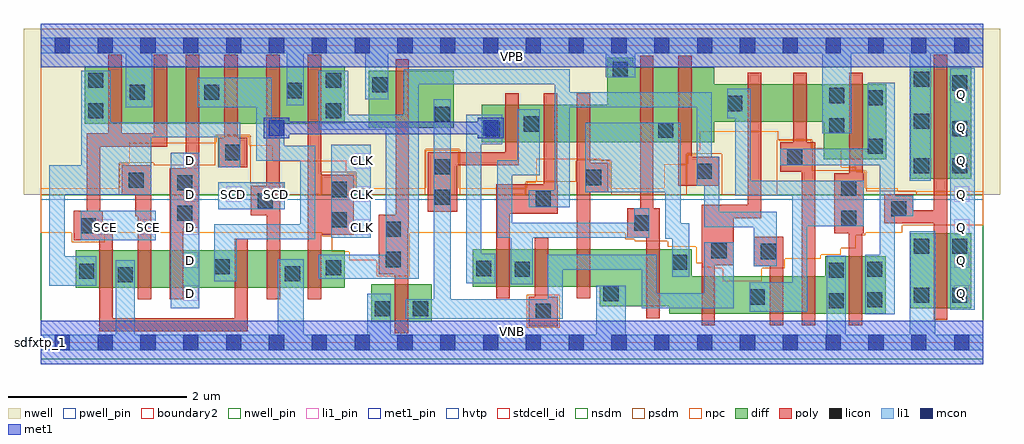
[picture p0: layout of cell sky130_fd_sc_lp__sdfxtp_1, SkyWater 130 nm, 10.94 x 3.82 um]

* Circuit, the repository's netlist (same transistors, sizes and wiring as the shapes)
* Copyright 2020 The SkyWater PDK Authors
*
* Licensed under the Apache License, Version 2.0 (the "License");
* you may not use this file except in compliance with the License.
* You may obtain a copy of the License at
*
*     https://www.apache.org/licenses/LICENSE-2.0
*
* Unless required by applicable law or agreed to in writing, software
* distributed under the License is distributed on an "AS IS" BASIS,
* WITHOUT WARRANTIES OR CONDITIONS OF ANY KIND, either express or implied.
* See the License for the specific language governing permissions and
* limitations under the License.
*
* SPDX-License-Identifier: Apache-2.0

.SUBCKT sky130_fd_sc_lp__sdfxtp_1 CLK D SCD SCE VGND VNB VPB VPWR Q
*.PININFO CLK:I D:I SCD:I SCE:I VGND:I VNB:I VPB:I VPWR:I Q:O
MI652 M1 clkpos S0 VNB sky130_fd_pr__nfet_01v8 m=1 w=0.42U l=0.15U mult=1 sa=0.265
+ sb=0.265 sd=0.28 area=0.063 perim=1.14
MI649 S1 S0 VGND VNB sky130_fd_pr__nfet_01v8 m=1 w=0.64U l=0.15U mult=1 sa=0.265
+ sb=0.265 sd=0.28 area=0.063 perim=1.14
MI634 M1 M0 VGND VNB sky130_fd_pr__nfet_01v8 m=1 w=0.64U l=0.15U mult=1 sa=0.265
+ sb=0.265 sd=0.28 area=0.063 perim=1.14
MI636 clkpos clkneg VGND VNB sky130_fd_pr__nfet_01v8 m=1 w=0.42U l=0.15U mult=1
+ sa=0.265 sb=0.265 sd=0.28 area=0.063 perim=1.14
MI639 sceb SCE VGND VNB sky130_fd_pr__nfet_01v8 m=1 w=0.42U l=0.15U mult=1 sa=0.265
+ sb=0.265 sd=0.28 area=0.063 perim=1.14
MI657 M0 clkpos net155 VNB sky130_fd_pr__nfet_01v8 m=1 w=0.42U l=0.15U mult=1 sa=0.265
+ sb=0.265 sd=0.28 area=0.063 perim=1.14
MI656 net155 M1 VGND VNB sky130_fd_pr__nfet_01v8 m=1 w=0.42U l=0.15U mult=1 sa=0.265
+ sb=0.265 sd=0.28 area=0.063 perim=1.14
MI641 net151 S1 VGND VNB sky130_fd_pr__nfet_01v8 m=1 w=0.42U l=0.15U mult=1 sa=0.265
+ sb=0.265 sd=0.28 area=0.063 perim=1.14
MI646 Q S1 VGND VNB sky130_fd_pr__nfet_01v8 m=1 w=0.84U l=0.15U mult=1 sa=0.265
+ sb=0.265 sd=0.28 area=0.063 perim=1.14
MI648 db clkneg M0 VNB sky130_fd_pr__nfet_01v8 m=1 w=0.42U l=0.15U mult=1 sa=0.265
+ sb=0.265 sd=0.28 area=0.063 perim=1.14
MI635 clkneg CLK VGND VNB sky130_fd_pr__nfet_01v8 m=1 w=0.42U l=0.15U mult=1 sa=0.265
+ sb=0.265 sd=0.28 area=0.063 perim=1.14
MI642 S0 clkneg net151 VNB sky130_fd_pr__nfet_01v8 m=1 w=0.42U l=0.15U mult=1 sa=0.265
+ sb=0.265 sd=0.28 area=0.063 perim=1.14
MI98 db D n0 VNB sky130_fd_pr__nfet_01v8 m=1 w=0.42U l=0.15U mult=1 sa=0.265 sb=0.265
+ sd=0.28 area=0.525 perim=3.1
MI103 n1 SCD VGND VNB sky130_fd_pr__nfet_01v8 m=1 w=0.42U l=0.15U mult=1 sa=0.265
+ sb=0.265 sd=0.28 area=0.525 perim=3.1
MI120 db SCE n1 VNB sky130_fd_pr__nfet_01v8 m=1 w=0.42U l=0.15U mult=1 sa=0.265
+ sb=0.265 sd=0.28 area=0.525 perim=3.1
MI104 n0 sceb VGND VNB sky130_fd_pr__nfet_01v8 m=1 w=0.42U l=0.15U mult=1 sa=0.265
+ sb=0.265 sd=0.28 area=0.525 perim=3.1
MI643 net206 S1 VPWR VPB sky130_fd_pr__pfet_01v8_hvt m=1 w=0.42U l=0.15U mult=1
+ sa=0.265 sb=0.265 sd=0.28 area=0.063 perim=1.14
MI640 sceb SCE VPWR VPB sky130_fd_pr__pfet_01v8_hvt m=1 w=0.64U l=0.15U mult=1
+ sa=0.265 sb=0.265 sd=0.28 area=0.063 perim=1.14
MI658 net243 M1 VPWR VPB sky130_fd_pr__pfet_01v8_hvt m=1 w=0.42U l=0.15U mult=1
+ sa=0.265 sb=0.265 sd=0.28 area=0.063 perim=1.14
MI645 Q S1 VPWR VPB sky130_fd_pr__pfet_01v8_hvt m=1 w=1.26U l=0.15U mult=1 sa=0.265
+ sb=0.265 sd=0.28 area=0.063 perim=1.14
MI651 db clkpos M0 VPB sky130_fd_pr__pfet_01v8_hvt m=1 w=0.42U l=0.15U mult=1 sa=0.265
+ sb=0.265 sd=0.28 area=0.063 perim=1.14
MI653 M1 clkneg S0 VPB sky130_fd_pr__pfet_01v8_hvt m=1 w=0.84U l=0.15U mult=1 sa=0.265
+ sb=0.265 sd=0.28 area=0.063 perim=1.14
MI659 M0 clkneg net243 VPB sky130_fd_pr__pfet_01v8_hvt m=1 w=0.42U l=0.15U mult=1
+ sa=0.265 sb=0.265 sd=0.28 area=0.063 perim=1.14
MI638 clkneg CLK VPWR VPB sky130_fd_pr__pfet_01v8_hvt m=1 w=0.64U l=0.15U mult=1
+ sa=0.265 sb=0.265 sd=0.28 area=0.063 perim=1.14
MI637 clkpos clkneg VPWR VPB sky130_fd_pr__pfet_01v8_hvt m=1 w=0.64U l=0.15U mult=1
+ sa=0.265 sb=0.265 sd=0.28 area=0.063 perim=1.14
MI650 S1 S0 VPWR VPB sky130_fd_pr__pfet_01v8_hvt m=1 w=0.84U l=0.15U mult=1 sa=0.265
+ sb=0.265 sd=0.28 area=0.063 perim=1.14
MI644 S0 clkpos net206 VPB sky130_fd_pr__pfet_01v8_hvt m=1 w=0.42U l=0.15U mult=1
+ sa=0.265 sb=0.265 sd=0.28 area=0.063 perim=1.14
MI664 M1 M0 VPWR VPB sky130_fd_pr__pfet_01v8_hvt m=1 w=0.84U l=0.15U mult=1 sa=0.265
+ sb=0.265 sd=0.28 area=0.063 perim=1.14
MI107 p0 SCE VPWR VPB sky130_fd_pr__pfet_01v8_hvt m=1 w=0.64U l=0.15U mult=1 sa=0.265
+ sb=0.265 sd=0.28 area=0.063 perim=1.14
MI94 db D p0 VPB sky130_fd_pr__pfet_01v8_hvt m=1 w=0.64U l=0.15U mult=1 sa=0.265
+ sb=0.265 sd=0.28 area=0.063 perim=1.14
MI108 p1 SCD VPWR VPB sky130_fd_pr__pfet_01v8_hvt m=1 w=0.64U l=0.15U mult=1 sa=0.265
+ sb=0.265 sd=0.28 area=0.063 perim=1.14
MI101 db sceb p1 VPB sky130_fd_pr__pfet_01v8_hvt m=1 w=0.64U l=0.15U mult=1 sa=0.265
+ sb=0.265 sd=0.28 area=0.063 perim=1.14
.ENDS sky130_fd_sc_lp__sdfxtp_1

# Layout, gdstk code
import gdstk
lib = gdstk.Library(unit=1e-6, precision=1e-09)
def R(c, l, rs):  # rectangles x0, y0, x1, y1
    for r in rs: c.add(gdstk.rectangle(r[:2], r[2:], *l))
def A(c, l, x, y, w, h, nx, ny, dx, dy):  # array of equal rectangles
    R(c, l, [(x+i*dx, y+j*dy, x+i*dx+w, y+j*dy+h) for i in range(nx) for j in range(ny)])
def P(c, l, *ps):  # polygons
    for p in ps: c.add(gdstk.Polygon(p, *l))
nwell_pin = (64, 16)
nwell = (64, 20)
diff = (65, 20)
poly = (66, 20)
licon = (66, 44)
li1_pin = (67, 16)
li1 = (67, 20)
mcon = (67, 44)
met1_pin = (68, 16)
met1 = (68, 20)
hvtp = (78, 44)
stdcell_id = (81, 4)
nsdm = (93, 44)
psdm = (94, 20)
npc = (95, 20)
pwell_pin = (122, 16)
boundary2 = (236, 0)

sky130_fd_sc_lp__sdfxtp_ = lib.new_cell('sky130_fd_sc_lp__sdfxtp_1')
R(sky130_fd_sc_lp__sdfxtp_, nwell_pin, [(0,3.085,10.56,3.33)])
R(sky130_fd_sc_lp__sdfxtp_, nwell, [(-0.19,1.655,10.75,3.52)])
R(sky130_fd_sc_lp__sdfxtp_, diff, [(3.7,0.235,4.38,0.655), (9.745,0.385,10.425,1.225), (0.39,0.615,3.405,1.035), (9.745,1.835,10.425,3.095), (3.675,2.405,4.625,3.045), (0.49,2.455,3.405,3.095)])
P(sky130_fd_sc_lp__sdfxtp_, diff, [(9.47,0.965),(8.79,0.965),(8.79,0.745),(7.295,0.745),(7.295,1.045),(4.84,1.045),(4.84,0.625),(6.265,0.625),(6.265,0.405),(7.045,0.405),(7.045,0.325),(9.47,0.325)],
  [(9.475,2.895),(7.545,2.895),(7.545,3.085),(6.64,3.085),(6.64,3.195),(6.35,3.195),(6.35,2.665),(4.94,2.665),(4.94,2.245),(7.545,2.245),(7.545,2.475),(8.775,2.475),(8.775,2.055),(9.475,2.055)])
P(sky130_fd_sc_lp__sdfxtp_, poly, [(1.235,1.985),(0.905,1.985),(0.905,1.655),(1.055,1.655),(1.055,1.415),(1.085,1.415),(1.085,0.485),(1.235,0.485)],
  [(1.775,3.225),(1.625,3.225),(1.625,1.955),(1.445,1.955),(1.445,0.485),(1.595,0.485),(1.595,1.285),(1.775,1.285)],
  [(2.315,2.295),(2.205,2.295),(2.205,3.225),(2.055,3.225),(2.055,2.295),(1.985,2.295),(1.985,1.965),(2.315,1.965)],
  [(2.32,1.165),(2.17,1.165),(2.17,0.275),(0.805,0.275),(0.805,1.295),(0.695,1.295),(0.695,1.475),(0.665,1.475),(0.665,2.195),(1.415,2.195),(1.415,3.225),(1.265,3.225),(1.265,2.345),(0.905,2.345),(0.905,3.225),(0.755,3.225),(0.755,2.345),(0.515,2.345),(0.515,1.475),(0.365,1.475),(0.365,1.145),(0.655,1.145),(0.655,0.125),(2.32,0.125)],
  [(2.68,1.755),(2.675,1.755),(2.675,3.225),(2.525,3.225),(2.525,1.755),(2.35,1.755),(2.35,1.425),(2.53,1.425),(2.53,0.485),(2.68,0.485)],
  [(3.505,1.88),(3.14,1.88),(3.14,3.225),(2.99,3.225),(2.99,0.485),(3.14,0.485),(3.14,1.21),(3.505,1.21)],
  [(4.125,3.175),(3.975,3.175),(3.975,1.435),(3.785,1.435),(3.785,0.765),(3.965,0.765),(3.965,0.105),(4.115,0.105),(4.115,1.285),(4.125,1.285)],
  [(5.355,2.795),(5.205,2.795),(5.205,2.135),(4.335,2.135),(4.335,1.465),(4.665,1.465),(4.665,1.985),(5.355,1.985)],
  [(5.795,1.775),(5.785,1.775),(5.785,2.795),(5.635,2.795),(5.635,1.775),(5.105,1.775),(5.105,0.495),(5.255,0.495),(5.255,1.445),(5.795,1.445)],
  [(5.795,0.515),(5.685,0.515),(5.685,1.175),(5.535,1.175),(5.535,0.515),(5.465,0.515),(5.465,0.185),(5.795,0.185)],
  [(6.36,2.015),(6.155,2.015),(6.155,2.795),(6.005,2.795),(6.005,0.495),(6.155,0.495),(6.155,1.685),(6.36,1.685)],
  [(6.935,1.505),(6.865,1.505),(6.865,3.215),(6.715,3.215),(6.715,1.505),(6.57,1.505),(6.57,1.175),(6.785,1.175),(6.785,0.275),(6.935,0.275)],
  [(7.6,2.085),(7.295,2.085),(7.295,3.215),(7.145,3.215),(7.145,1.755),(7.6,1.755)],
  [(8.075,3.025),(7.925,3.025),(7.925,1.545),(7.405,1.545),(7.405,0.195),(7.555,0.195),(7.555,0.865),(7.765,0.865),(7.765,1.395),(8.075,1.395)],
  [(8.32,1.185),(7.99,1.185),(7.99,0.855),(8.17,0.855),(8.17,0.195),(8.32,0.195)],
  [(8.68,2.245),(8.585,2.245),(8.585,3.025),(8.435,3.025),(8.435,2.245),(8.285,2.245),(8.285,1.915),(8.53,1.915),(8.53,0.195),(8.68,0.195)],
  [(9.22,1.895),(9.21,1.895),(9.21,3.025),(9.06,3.025),(9.06,1.895),(8.89,1.895),(8.89,1.225),(9.055,1.225),(9.055,0.195),(9.205,0.195),(9.205,1.225),(9.22,1.225)],
  [(10.16,3.225),(10.01,3.225),(10.01,1.485),(9.78,1.485),(9.78,1.665),(9.45,1.665),(9.45,1.335),(10.01,1.335),(10.01,0.255),(10.16,0.255)])
R(sky130_fd_sc_lp__sdfxtp_, licon, [(5.545,0.265,5.715,0.435), (3.74,0.295,3.91,0.465), (4.17,0.295,4.34,0.465), (8.83,0.385,9,0.555), (9.26,0.395,9.43,0.565), (7.945,0.425,8.115,0.595), (9.785,0.445,9.955,0.615), (10.215,0.445,10.385,0.615), (6.305,0.465,6.475,0.635), (0.86,0.675,1.03,0.845), (2.735,0.685,2.905,0.855), (0.43,0.715,0.6,0.885), (8.83,0.725,9,0.895), (5.31,0.735,5.48,0.905), (9.26,0.735,9.43,0.905), (4.88,0.745,5.05,0.915), (3.195,0.755,3.365,0.925), (1.945,0.765,2.115,0.935), (7.075,0.815,7.245,0.985), (3.865,0.845,4.035,1.015), (8.07,0.935,8.24,1.105), (7.515,0.945,7.685,1.115), (9.785,0.995,9.955,1.165), (10.215,0.995,10.385,1.165), (3.865,1.185,4.035,1.355), (0.445,1.225,0.615,1.395), (6.65,1.255,6.82,1.425), (3.255,1.29,3.425,1.46), (8.97,1.305,9.14,1.475), (1.525,1.365,1.695,1.535), (9.53,1.415,9.7,1.585), (2.43,1.505,2.6,1.675), (5.545,1.525,5.715,1.695), (4.415,1.545,4.585,1.715), (3.255,1.63,3.425,1.8), (8.97,1.645,9.14,1.815), (1.525,1.705,1.695,1.875), (0.985,1.735,1.155,1.905), (6.11,1.765,6.28,1.935), (7.35,1.835,7.52,2.005), (4.415,1.885,4.585,2.055), (9.785,1.895,9.955,2.065), (10.215,1.895,10.385,2.065), (8.365,1.995,8.535,2.165), (2.065,2.045,2.235,2.215), (9.265,2.115,9.435,2.285), (6.92,2.295,7.09,2.465), (4.98,2.305,5.15,2.475), (10.215,2.31,10.385,2.48), (8.835,2.345,9.005,2.515), (5.41,2.365,5.58,2.535), (9.785,2.395,9.955,2.565), (4.415,2.475,4.585,2.645), (0.53,2.515,0.7,2.685), (3.195,2.515,3.365,2.685), (7.69,2.595,7.86,2.765), (9.265,2.66,9.435,2.83), (8.835,2.685,9.005,2.855), (0.995,2.72,1.165,2.89), (1.83,2.72,2,2.89), (2.755,2.74,2.925,2.91), (3.715,2.805,3.885,2.975), (10.215,2.825,10.385,2.995), (0.53,2.855,0.7,3.025), (3.195,2.855,3.365,3.025), (9.785,2.865,9.955,3.035), (6.41,2.975,6.58,3.145)])
A(sky130_fd_sc_lp__sdfxtp_, li1_pin, 10.235, 0.47, 0.17, 0.17, 1, 7, 0, 0.37)
A(sky130_fd_sc_lp__sdfxtp_, li1_pin, 0.635, 1.21, 0.17, 0.17, 3, 1, 0.48, 0)
A(sky130_fd_sc_lp__sdfxtp_, li1_pin, 3.515, 1.21, 0.17, 0.17, 1, 3, 0, 0.37)
A(sky130_fd_sc_lp__sdfxtp_, li1_pin, 1.595, 1.58, 0.17, 0.17, 3, 1, 0.48, 0)
R(sky130_fd_sc_lp__sdfxtp_, li1_pin, [(1.595,0.47,1.765,0.64), (1.595,0.84,1.765,1.01), (1.595,1.95,1.765,2.12)])
R(sky130_fd_sc_lp__sdfxtp_, li1, [(10.195,0.365,10.465,3.075), (1.455,0.385,1.775,2.13), (0.445,1.145,1.285,1.475), (3.255,1.175,3.695,2.215), (1.985,1.495,2.735,1.795)])
P(sky130_fd_sc_lp__sdfxtp_, li1, [(5.93,2.805),(7.52,2.805),(7.52,2.085),(7.605,2.085),(7.605,1.465),(8.25,1.465),(8.25,0.855),(7.99,0.855),(7.99,1.295),(7.435,1.295),(7.435,1.755),(7.35,1.755),(7.35,2.635),(5.93,2.635),(5.93,1.515),(5.465,1.515),(5.465,1.705),(5.76,1.705),(5.76,2.895),(4.235,2.895),(4.235,0.715),(3.115,0.715),(3.115,0.985),(3.865,0.985),(3.865,2.385),(3.115,2.385),(3.115,3.045),(3.445,3.045),(3.445,2.555),(4.065,2.555),(4.065,3.065),(5.93,3.065)],
  [(2.235,2.47),(2.235,1.965),(1.995,1.965),(1.995,2.3),(1.235,2.3),(1.235,1.655),(0.265,1.655),(0.265,0.965),(0.62,0.965),(0.62,0.635),(0.095,0.635),(0.095,1.985),(0.45,1.985),(0.45,3.045),(0.78,3.045),(0.78,2.47)],
  [(6.33,2.975),(6.33,3.245),(3.895,3.245),(3.895,2.725),(3.635,2.725),(3.635,3.245),(2.945,3.245),(2.945,2.66),(2.755,2.66),(2.755,3.245),(1.245,3.245),(1.245,2.64),(0.95,2.64),(0.95,3.245),(0,3.245),(0,3.415),(10.56,3.415),(10.56,3.245),(9.975,3.245),(9.975,1.815),(9.74,1.815),(9.74,3.245),(9.085,3.245),(9.085,2.345),(8.755,2.345),(8.755,3.245),(6.66,3.245),(6.66,2.975)],
  [(6.225,0.085),(6.225,0.635),(6.555,0.635),(6.555,0.085),(8.81,0.085),(8.81,0.975),(9.02,0.975),(9.02,0.085),(9.74,0.085),(9.74,1.245),(10.025,1.245),(10.025,0.085),(10.56,0.085),(10.56,-0.085),(0,-0.085),(0,0.085),(0.84,0.085),(0.84,0.925),(1.05,0.925),(1.05,0.085),(2.655,0.085),(2.655,0.935),(2.945,0.935),(2.945,0.085),(3.66,0.085),(3.66,0.545),(3.92,0.545),(3.92,0.085)],
  [(9.4,0.985),(9.4,1.985),(8.285,1.985),(8.285,2.175),(9.265,2.175),(9.265,2.91),(9.57,2.91),(9.57,1.645),(9.78,1.645),(9.78,1.415),(9.57,1.415),(9.57,0.315),(9.24,0.315),(9.24,0.985)],
  [(4.765,2.555),(5.17,2.555),(5.17,2.225),(4.935,2.225),(4.935,0.995),(5.095,0.995),(5.095,0.665),(4.765,0.665)],
  [(2.415,2.64),(1.75,2.64),(1.75,2.97),(2.585,2.97),(2.585,2.49),(2.725,2.49),(2.725,2.205),(3.075,2.205),(3.075,1.155),(2.195,1.155),(2.195,0.685),(1.945,0.685),(1.945,1.325),(2.905,1.325),(2.905,2.035),(2.415,2.035)],
  [(7.955,1.815),(9.22,1.815),(9.22,1.305),(8.59,1.305),(8.59,0.345),(7.945,0.345),(7.945,0.675),(8.42,0.675),(8.42,1.645),(7.785,1.645),(7.785,2.515),(7.69,2.515),(7.69,2.845),(7.955,2.845)],
  [(6.1,2.465),(7.17,2.465),(7.17,1.335),(7.265,1.335),(7.265,0.735),(7.075,0.735),(7.075,1.165),(7,1.165),(7,1.685),(6.1,1.685)],
  [(5.34,2.045),(5.34,2.615),(5.59,2.615),(5.59,1.875),(5.285,1.875),(5.285,1.345),(6.65,1.345),(6.65,1.505),(6.82,1.505),(6.82,1.175),(5.51,1.175),(5.51,0.655),(5.265,0.655),(5.265,1.175),(5.115,1.175),(5.115,2.045)],
  [(4.405,0.485),(4.405,2.725),(4.595,2.725),(4.595,0.485),(5.68,0.485),(5.68,0.985),(6.905,0.985),(6.905,0.555),(7.435,0.555),(7.435,1.125),(7.765,1.125),(7.765,0.385),(6.735,0.385),(6.735,0.815),(5.85,0.815),(5.85,0.265),(4.09,0.265),(4.09,0.485)])
A(sky130_fd_sc_lp__sdfxtp_, mcon, 0.155, -0.085, 0.17, 0.17, 22, 2, 0.48, 3.33)
R(sky130_fd_sc_lp__sdfxtp_, mcon, [(2.555,2.32,2.725,2.49), (4.955,2.32,5.125,2.49)])
R(sky130_fd_sc_lp__sdfxtp_, met1_pin, [(0,0,10.56,0.245), (0,3.085,10.56,3.33)])
R(sky130_fd_sc_lp__sdfxtp_, met1, [(0,-0.245,10.56,0.245), (0,3.085,10.56,3.575)])
P(sky130_fd_sc_lp__sdfxtp_, met1, [(2.785,2.475),(4.895,2.475),(4.895,2.52),(5.185,2.52),(5.185,2.29),(4.895,2.29),(4.895,2.335),(2.785,2.335),(2.785,2.29),(2.495,2.29),(2.495,2.52),(2.785,2.52)])
R(sky130_fd_sc_lp__sdfxtp_, hvtp, [(0,1.6,10.56,3.33)])
R(sky130_fd_sc_lp__sdfxtp_, stdcell_id, [(0,0,10.56,3.33)])
R(sky130_fd_sc_lp__sdfxtp_, nsdm, [(0,-0.19,10.56,1.655)])
P(sky130_fd_sc_lp__sdfxtp_, psdm, [(10.56,3.52),(0,3.52),(0,1.655),(0.875,1.655),(0.875,2.015),(1.265,2.015),(1.265,1.985),(1.955,1.985),(1.955,2.325),(2.345,2.325),(2.345,1.785),(2.71,1.785),(2.71,1.655),(3.145,1.655),(3.145,1.91),(3.535,1.91),(3.535,1.655),(4.305,1.655),(4.305,2.165),(4.695,2.165),(4.695,1.655),(5.435,1.655),(5.435,1.805),(6,1.805),(6,2.045),(6.39,2.045),(6.39,1.655),(7.24,1.655),(7.24,2.115),(7.63,2.115),(7.63,1.655),(8.255,1.655),(8.255,2.275),(8.645,2.275),(8.645,1.925),(9.25,1.925),(9.25,1.695),(9.81,1.695),(9.81,1.655),(10.56,1.655)])
R(sky130_fd_sc_lp__sdfxtp_, npc, [(5.445,0.165,5.815,0.535)])
P(sky130_fd_sc_lp__sdfxtp_, npc, [(10.56,1.695),(9.605,1.695),(9.605,1.73),(9.24,1.73),(9.24,1.915),(9.135,1.915),(9.135,1.965),(8.97,1.965),(8.97,2.18),(8.635,2.18),(8.635,2.265),(8.265,2.265),(8.265,2.37),(7.385,2.37),(7.385,2.155),(7.355,2.155),(7.355,2.105),(7.25,2.105),(7.25,2),(6.985,2),(6.985,1.73),(6.38,1.73),(6.38,2.035),(6.275,2.035),(6.275,2.06),(5.55,2.06),(5.55,1.795),(5.445,1.795),(5.445,1.73),(4.685,1.73),(4.685,2.155),(4.315,2.155),(4.315,1.73),(3.525,1.73),(3.525,1.9),(3.42,1.9),(3.42,2.04),(2.6,2.04),(2.6,2.21),(2.335,2.21),(2.335,2.315),(1.965,2.315),(1.965,2.24),(0.99,2.24),(0.99,2.005),(0.885,2.005),(0.885,1.73),(0,1.73),(0,1.23),(0.345,1.23),(0.345,1.125),(0.715,1.125),(0.715,1.23),(3.155,1.23),(3.155,1.19),(3.26,1.19),(3.26,1.015),(3.455,1.015),(3.455,0.925),(3.765,0.925),(3.765,0.745),(4.135,0.745),(4.135,1.23),(6.55,1.23),(6.55,1.155),(6.655,1.155),(6.655,1.135),(7.025,1.135),(7.025,1.075),(7.345,1.075),(7.345,0.89),(7.415,0.89),(7.415,0.845),(7.52,0.845),(7.52,0.835),(7.645,0.835),(7.645,0.685),(8.08,0.685),(8.08,0.835),(8.34,0.835),(8.34,0.94),(8.74,0.94),(8.74,0.985),(8.965,0.985),(8.965,1.055),(9.135,1.055),(9.135,1.205),(9.24,1.205),(9.24,1.23),(9.655,1.23),(9.655,1.315),(10.56,1.315)])
R(sky130_fd_sc_lp__sdfxtp_, pwell_pin, [(0,0,10.56,0.245)])
R(sky130_fd_sc_lp__sdfxtp_, boundary2, [(0,0,10.56,3.33)])
sky130_fd_sc_lp__sdfxtp_.add(gdstk.Label('VNB', (5.28,0.123), layer=64, texttype=59))
sky130_fd_sc_lp__sdfxtp_.add(gdstk.Label('VPB', (5.28,3.208), layer=64, texttype=5))
sky130_fd_sc_lp__sdfxtp_.add(gdstk.Label('sdfxtp_1', (0,0), layer=83, texttype=44))
sky130_fd_sc_lp__sdfxtp_.add(gdstk.Label('VPWR', (5.28,3.208), layer=68, texttype=5))
sky130_fd_sc_lp__sdfxtp_.add(gdstk.Label('VGND', (5.28,0.123), layer=68, texttype=5))
sky130_fd_sc_lp__sdfxtp_.add(gdstk.Label('CLK', (3.6,1.295), layer=67, texttype=5))
sky130_fd_sc_lp__sdfxtp_.add(gdstk.Label('CLK', (3.6,1.665), layer=67, texttype=5))
sky130_fd_sc_lp__sdfxtp_.add(gdstk.Label('CLK', (3.6,2.035), layer=67, texttype=5))
sky130_fd_sc_lp__sdfxtp_.add(gdstk.Label('SCE', (0.72,1.295), layer=67, texttype=5))
sky130_fd_sc_lp__sdfxtp_.add(gdstk.Label('SCE', (1.2,1.295), layer=67, texttype=5))
sky130_fd_sc_lp__sdfxtp_.add(gdstk.Label('SCD', (2.16,1.665), layer=67, texttype=5))
sky130_fd_sc_lp__sdfxtp_.add(gdstk.Label('SCD', (2.64,1.665), layer=67, texttype=5))
sky130_fd_sc_lp__sdfxtp_.add(gdstk.Label('D', (1.68,0.555), layer=67, texttype=5))
sky130_fd_sc_lp__sdfxtp_.add(gdstk.Label('D', (1.68,0.925), layer=67, texttype=5))
sky130_fd_sc_lp__sdfxtp_.add(gdstk.Label('D', (1.68,1.295), layer=67, texttype=5))
sky130_fd_sc_lp__sdfxtp_.add(gdstk.Label('D', (1.68,1.665), layer=67, texttype=5))
sky130_fd_sc_lp__sdfxtp_.add(gdstk.Label('D', (1.68,2.035), layer=67, texttype=5))
sky130_fd_sc_lp__sdfxtp_.add(gdstk.Label('Q', (10.32,0.555), layer=67, texttype=5))
sky130_fd_sc_lp__sdfxtp_.add(gdstk.Label('Q', (10.32,0.925), layer=67, texttype=5))
sky130_fd_sc_lp__sdfxtp_.add(gdstk.Label('Q', (10.32,1.295), layer=67, texttype=5))
sky130_fd_sc_lp__sdfxtp_.add(gdstk.Label('Q', (10.32,1.665), layer=67, texttype=5))
sky130_fd_sc_lp__sdfxtp_.add(gdstk.Label('Q', (10.32,2.035), layer=67, texttype=5))
sky130_fd_sc_lp__sdfxtp_.add(gdstk.Label('Q', (10.32,2.405), layer=67, texttype=5))
sky130_fd_sc_lp__sdfxtp_.add(gdstk.Label('Q', (10.32,2.775), layer=67, texttype=5))

lib.write_gds('sky130_fd_sc_lp__sdfxtp_1.gds')
